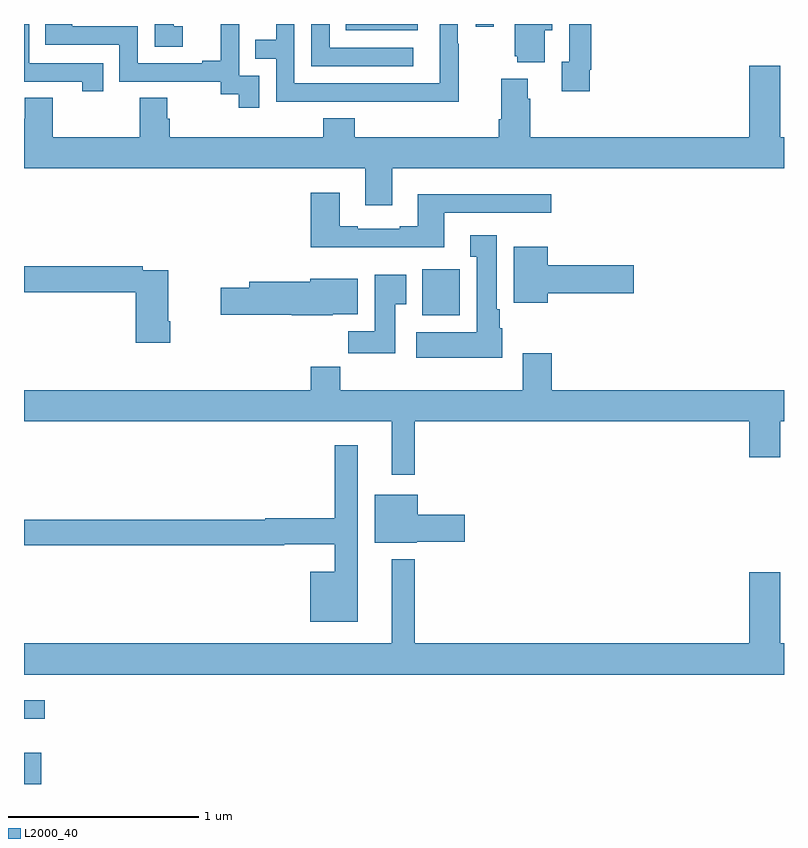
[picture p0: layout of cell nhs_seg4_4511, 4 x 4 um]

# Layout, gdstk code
import gdstk
lib = gdstk.Library(unit=1e-6, precision=1e-09)
def R(c, l, rs):  # rectangles x0, y0, x1, y1
    for r in rs: c.add(gdstk.rectangle(r[:2], r[2:], *l))
def P(c, l, *ps):  # polygons
    for p in ps: c.add(gdstk.Polygon(p, *l))
L2000_40 = (2000, 40)

nhs_seg4_4511 = lib.new_cell('nhs_seg4_4511')
R(nhs_seg4_4511, L2000_40, [(353,806.9,353.092,807.064), (353,807.243,353.11,807.34), (355.097,809.366,355.294,809.608), (354.694,810.866,355.072,810.9), (355.377,810.885,355.473,810.9)])
P(nhs_seg4_4511, L2000_40, [(355.048,810.774),(354.609,810.774),(354.609,810.9),(354.513,810.9),(354.513,810.678),(355.048,810.678)],
  [(355.978,810.658),(355.985,810.658),(355.985,810.9),(355.869,810.9),(355.869,810.702),(355.829,810.702),(355.829,810.546),(355.978,810.546)],
  [(355.287,810.797),(355.284,810.797),(355.284,810.9),(355.188,810.9),(355.188,810.588),(354.423,810.588),(354.423,810.9),(354.327,810.9),(354.327,810.818),(354.217,810.818),(354.217,810.717),(354.327,810.717),(354.327,810.492),(354.823,810.492),(354.823,810.491),(355.287,810.491)],
  [(355.741,810.866),(355.78,810.866),(355.78,810.9),(355.583,810.9),(355.583,810.729),(355.595,810.729),(355.595,810.698),(355.741,810.698)],
  [(354.237,810.627),(354.132,810.627),(354.132,810.857),(354.134,810.857),(354.134,810.9),(354.035,810.9),(354.035,810.706),(353.939,810.706),(353.939,810.693),(353.598,810.693),(353.598,810.888),(353.253,810.888),(353.253,810.9),(353.113,810.9),(353.113,810.792),(353.502,810.792),(353.502,810.597),(354.036,810.597),(354.036,810.529),(354.129,810.529),(354.129,810.459),(354.237,810.459)],
  [(353.417,810.693),(353.028,810.693),(353.028,810.9),(353,810.9),(353,810.597),(353.306,810.597),(353.306,810.546),(353.417,810.546)],
  [(353.836,810.889),(353.787,810.889),(353.787,810.9),(353.688,810.9),(353.688,810.78),(353.836,810.78)],
  [(354.937,810.14),(357,810.14),(357,810.304),(356.98,810.304),(356.98,810.679),(356.816,810.679),(356.816,810.304),(355.664,810.304),(355.664,810.506),(355.651,810.506),(355.651,810.613),(355.511,810.613),(355.511,810.4),(355.499,810.4),(355.499,810.304),(354.74,810.304),(354.74,810.403),(354.575,810.403),(354.575,810.304),(353.768,810.304),(353.768,810.402),(353.755,810.402),(353.755,810.512),(353.608,810.512),(353.608,810.304),(353.151,810.304),(353.151,810.512),(353.003,810.512),(353.003,810.402),(353,810.402),(353,810.14),(354.797,810.14),(354.797,809.946),(354.937,809.946)],
  [(355.213,809.907),(355.774,809.907),(355.774,810.004),(355.073,810.004),(355.073,809.836),(354.977,809.836),(354.977,809.823),(354.757,809.823),(354.757,809.836),(354.661,809.836),(354.661,810.013),(354.509,810.013),(354.509,809.726),(355.213,809.726)],
  [(355.516,809.298),(355.504,809.298),(355.504,809.398),(355.489,809.398),(355.489,809.788),(355.349,809.788),(355.349,809.675),(355.382,809.675),(355.382,809.278),(355.065,809.278),(355.065,809.144),(355.516,809.144)],
  [(355.756,809.483),(356.209,809.483),(356.209,809.63),(355.756,809.63),(355.756,809.728),(355.577,809.728),(355.577,809.432),(355.756,809.432)],
  [(353.771,809.335),(353.758,809.335),(353.758,809.604),(353.624,809.604),(353.624,809.624),(353,809.624),(353,809.488),(353.588,809.488),(353.588,809.223),(353.771,809.223)],
  [(354.955,809.425),(355.012,809.425),(355.012,809.581),(354.845,809.581),(354.845,809.284),(354.706,809.284),(354.706,809.166),(354.955,809.166)],
  [(354.624,809.372),(354.757,809.372),(354.757,809.56),(354.506,809.56),(354.506,809.543),(354.185,809.543),(354.185,809.513),(354.036,809.513),(354.036,809.371),(354.41,809.371),(354.41,809.366),(354.624,809.366)],
  [(355.057,808.808),(356.816,808.808),(356.816,808.62),(356.98,808.62),(356.98,808.808),(357,808.808),(357,808.972),(355.778,808.972),(355.778,809.167),(355.625,809.167),(355.625,808.972),(354.665,808.972),(354.665,809.096),(354.509,809.096),(354.509,808.972),(353,808.972),(353,808.808),(354.935,808.808),(354.935,808.527),(355.057,808.527)],
  [(354.757,808.684),(354.636,808.684),(354.636,808.298),(354.27,808.298),(354.27,808.292),(353,808.292),(353,808.156),(354.37,808.156),(354.37,808.163),(354.636,808.163),(354.636,808.018),(354.506,808.018),(354.506,807.755),(354.757,807.755)],
  [(355.068,808.175),(355.321,808.175),(355.321,808.317),(355.072,808.317),(355.072,808.423),(354.845,808.423),(354.845,808.169),(355.068,808.169)],
  [(357,807.64),(356.98,807.64),(356.98,808.015),(356.816,808.015),(356.816,807.64),(355.057,807.64),(355.057,808.084),(354.935,808.084),(354.935,807.64),(353,807.64),(353,807.476),(357,807.476)])

lib.write_gds('nhs_seg4_4511.gds')
